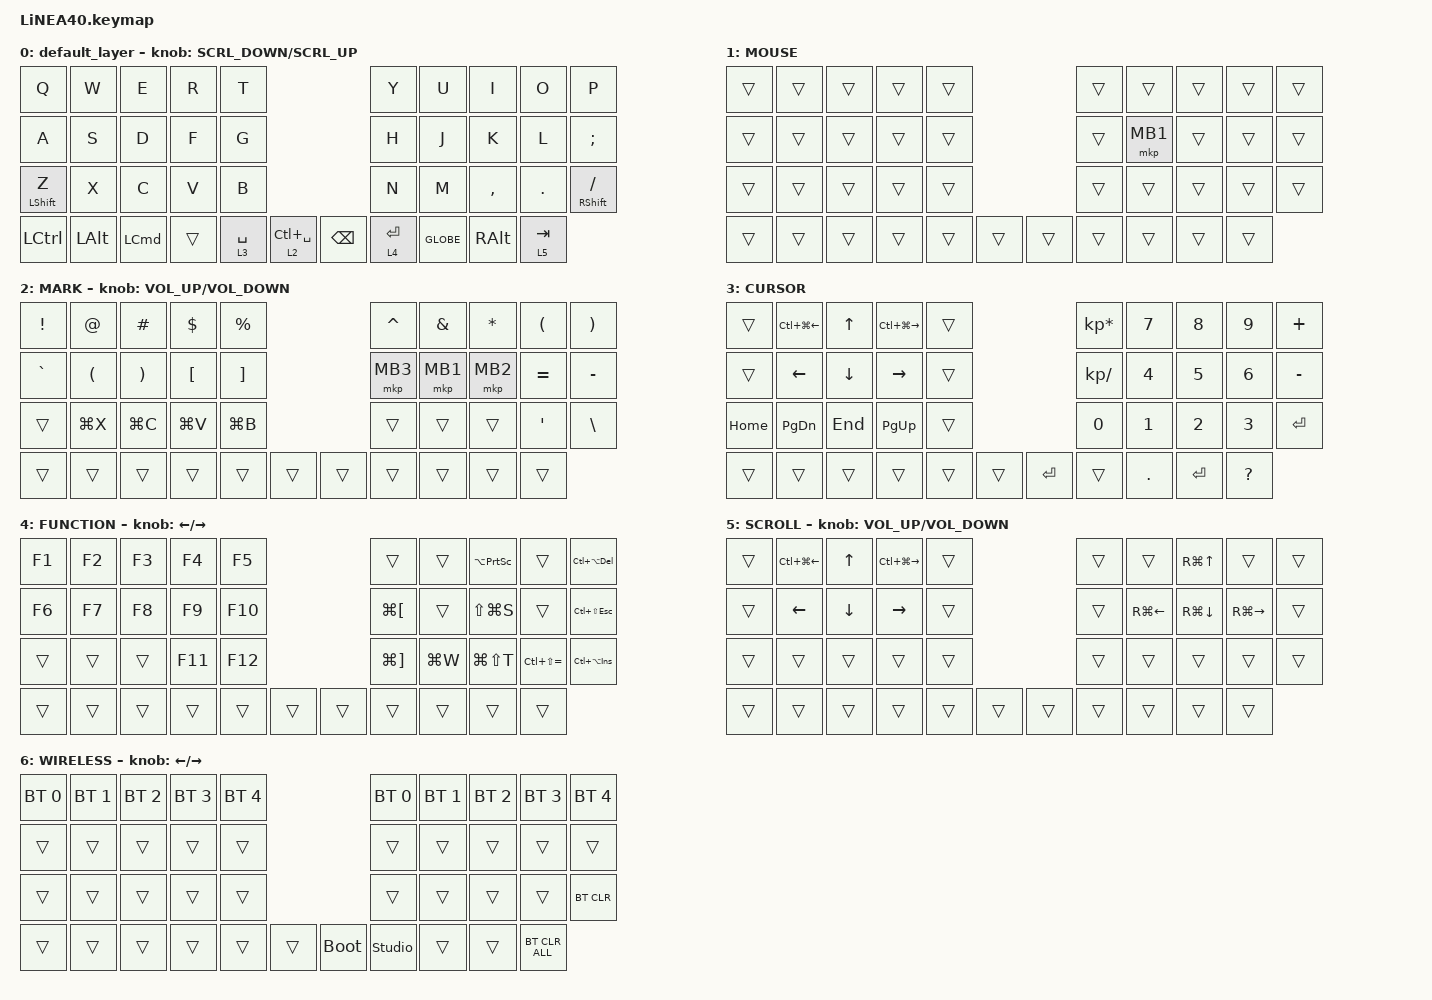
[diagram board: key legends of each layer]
#define ZMK_POINTING_DEFAULT_SCRL_VAL 150

#include <dt-bindings/zmk/input_transform.h>
#include <input/processors.dtsi>
#include <zephyr/dt-bindings/input/input-event-codes.h>
#include <behaviors.dtsi>
#include <dt-bindings/zmk/bt.h>
#include <dt-bindings/zmk/keys.h>
#include <dt-bindings/zmk/pointing.h>

#define MOUSE 1
#define MARK 2
#define CURSOR 3
#define FUNCTION 4
#define SCROLL 5
#define WIRELESS 6

//mouse cursol

&mmv {
    delay-ms = <20>;
    trigger-period-ms = <5>;
    time-to-max-speed-ms = <100>;
    acceleration-exponent = <2>;
};

//mouse scroll

&msc {
    delay-ms = <3>;
    trigger-period-ms = <3>;
    time-to-max-speed-ms = <100>;
    acceleration-exponent = <0>;
};

/ {
    input_processors {
        zip_wheel_scaler: zip_wheel_scaler {
            compatible = "zmk,input-processor-scaler";
            #input-processor-cells = <2>;
            type = <INPUT_EV_REL>;
            codes = <INPUT_REL_WHEEL>;
            track-remainders;
        };
    };
};

&msc_input_listener {
    speed_up {
        layers = <FUNCTION>;
        input-processors = <&zip_wheel_scaler 3 1>; //スクロールを3倍速にする
    };
};

&trackball_listener {
    scroller {
        layers = <SCROLL>;
        input-processors =
            <&zip_xy_transform INPUT_TRANSFORM_Y_INVERT>,
            //スクロール方向を逆転,,,,,,,
            <&zip_xy_to_scroll_mapper>;
    };
};

/ {
    combos {
        compatible = "zmk,combos";

        CenterClick {
            bindings = <&mkp MB3>;
            key-positions = <17 16>;
        };

        RightClick {
            bindings = <&mkp MB2>;
            key-positions = <18 17>;
        };

        layer4_ESC {
            bindings = <&lt 6 ESCAPE>;
            key-positions = <35 36>;
        };

        Hankaku {
            bindings = <&kp LC(SPACE)>;
            key-positions = <30 34>;
        };

        Voice {
            bindings = <&kp GLOBE>;
            key-positions = <34 37>;
        };
    };

    behaviors {
        re_kp: sensor_rotate_kp {
            compatible = "zmk,behavior-sensor-rotate-var";
            #sensor-binding-cells = <2>;
            bindings = <&kp>, <&kp>;
        };

        mouse_scrl: mouse_wheel_scrl {
            compatible = "zmk,behavior-sensor-rotate-var";
            #sensor-binding-cells = <2>;
            bindings = <&msc>, <&msc>;

            tap-ms = <20>;
        };
    };

    keymap {
        compatible = "zmk,keymap";

        default_layer {
            bindings = <
&kp Q             &kp W         &kp E             &kp R   &kp T                                          &kp Y        &kp U  &kp I      &kp O          &kp P
&kp A             &kp S         &kp D             &kp F   &kp G                                          &kp H        &kp J  &kp K      &kp L          &kp SEMICOLON
&mt LEFT_SHIFT Z  &kp X         &kp C             &kp V   &kp B                                          &kp N        &kp M  &kp COMMA  &kp DOT        &mt RIGHT_SHIFT SLASH
&kp LCTRL         &kp LEFT_ALT  &kp LEFT_COMMAND  &trans  &lt 3 SPACE  &lt 2 LC(SPACE)    &kp BACKSPACE  &lt 4 ENTER         &kp GLOBE  &kp RIGHT_ALT  &lt 5 TAB
            >;

            sensor-bindings = <&mouse_scrl SCRL_DOWN SCRL_UP>;
        };

        //1

        MOUSE {
            bindings = <
&trans  &trans  &trans  &trans  &trans                    &trans  &trans    &trans  &trans  &trans
&trans  &trans  &trans  &trans  &trans                    &trans  &mkp MB1  &trans  &trans  &trans
&trans  &trans  &trans  &trans  &trans                    &trans  &trans    &trans  &trans  &trans
&trans  &trans  &trans  &trans  &trans  &trans    &trans  &trans            &trans  &trans  &trans
            >;
        };

        //2

        MARK {
            bindings = <
&kp EXCLAMATION  &kp AT                &kp HASH               &kp DOLLAR        &kp PERCENT                          &kp CARET  &kp AMPERSAND  &kp ASTERISK  &kp LEFT_PARENTHESIS  &kp RIGHT_PARENTHESIS
&kp GRAVE        &kp LEFT_PARENTHESIS  &kp RIGHT_PARENTHESIS  &kp LEFT_BRACKET  &kp RIGHT_BRACKET                    &mkp MB3   &mkp MB1       &mkp MB2      &kp EQUAL             &kp MINUS
&trans           &kp LG(X)             &kp LG(C)              &kp LG(V)         &kp LG(B)                            &trans     &trans         &trans        &kp SQT               &kp BACKSLASH
&trans           &trans                &trans                 &trans            &trans             &trans    &trans  &trans                    &trans        &trans                &trans
            >;

            sensor-bindings = <&re_kp C_VOLUME_UP C_VOLUME_DOWN>;
        };

        //3

        CURSOR {
            bindings = <
&trans    &kp LC(LG(LEFT_ARROW))  &kp UP_ARROW  &kp LC(LG(RIGHT_ARROW))  &trans                       &kp KP_MULTIPLY  &kp NUMBER_7  &kp NUMBER_8  &kp NUMBER_9  &kp PLUS
&trans    &kp LEFT_ARROW          &kp DOWN      &kp RIGHT_ARROW          &trans                       &kp KP_SLASH     &kp NUMBER_4  &kp NUMBER_5  &kp NUMBER_6  &kp MINUS
&kp HOME  &kp PAGE_DOWN           &kp END       &kp PAGE_UP              &trans                       &kp N0           &kp NUMBER_1  &kp NUMBER_2  &kp NUMBER_3  &kp ENTER
&trans    &trans                  &trans        &trans                   &trans  &trans    &kp ENTER  &trans                         &kp DOT       &kp ENTER     &kp QUESTION
            >;
        };

        //4

        FUNCTION {
            bindings = <
&kp F1  &kp F2  &kp F3  &kp F4   &kp F5                     &trans                 &trans     &kp LA(PRINTSCREEN)  &trans             &kp LC(LA(DELETE))
&kp F6  &kp F7  &kp F8  &kp F9   &kp F10                    &kp LG(LEFT_BRACKET)   &trans     &kp LS(LG(S))        &trans             &kp LC(LS(ESCAPE))
&trans  &trans  &trans  &kp F11  &kp F12                    &kp LG(RIGHT_BRACKET)  &kp LG(W)  &kp LG(LS(T))        &kp LC(LS(EQUAL))  &kp LC(LA(INS))
&trans  &trans  &trans  &trans   &trans   &trans    &trans  &trans                            &trans               &trans             &trans
            >;

            sensor-bindings = <&inc_dec_kp LEFT RIGHT>;
        };

        //5

        SCROLL {
            bindings = <
&trans  &kp LC(LG(LEFT_ARROW))  &kp UP_ARROW  &kp LC(LG(RIGHT_ARROW))  &trans                    &trans  &trans        &kp RG(UP_ARROW)    &trans         &trans
&trans  &kp LEFT_ARROW          &kp DOWN      &kp RIGHT_ARROW          &trans                    &trans  &kp RG(LEFT)  &kp RG(DOWN_ARROW)  &kp RG(RIGHT)  &trans
&trans  &trans                  &trans        &trans                   &trans                    &trans  &trans        &trans              &trans         &trans
&trans  &trans                  &trans        &trans                   &trans  &trans    &trans  &trans                &trans              &trans         &trans
            >;

            sensor-bindings = <&inc_dec_kp C_VOLUME_UP C_VOLUME_DOWN>;
        };

        //6

        WIRELESS {
            bindings = <
&bt BT_SEL 0  &bt BT_SEL 1  &bt BT_SEL 2  &bt BT_SEL 3  &bt BT_SEL 4                         &bt BT_SEL 0    &bt BT_SEL 1  &bt BT_SEL 2  &bt BT_SEL 3  &bt BT_SEL 4
&trans        &trans        &trans        &trans        &trans                               &trans          &trans        &trans        &trans        &trans
&trans        &trans        &trans        &trans        &trans                               &trans          &trans        &trans        &trans        &bt BT_CLR
&trans        &trans        &trans        &trans        &trans        &trans    &bootloader  &studio_unlock                &trans        &trans        &bt BT_CLR_ALL
            >;

            sensor-bindings = <&inc_dec_kp LEFT_ARROW RIGHT_ARROW>;
        };
    };
};
